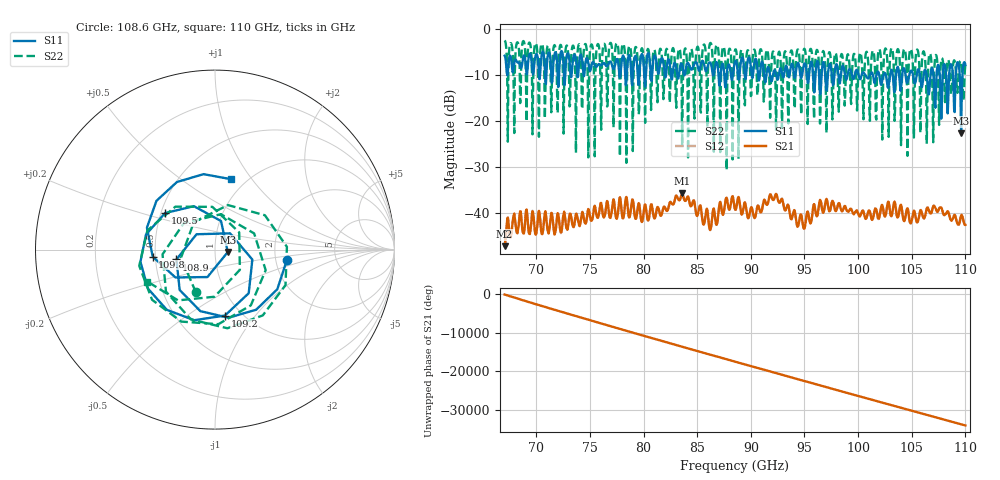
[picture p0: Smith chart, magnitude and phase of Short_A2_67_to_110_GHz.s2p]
#  HZ  S  MA  R  50.00
! Rohde & Schwarz ZVA67 4Ports - Version 4.11 - 1305.7002k04 SN: 101051
! Date: 2023-09-13 16:55:17
! Measurements: S11 S21 S12 S22
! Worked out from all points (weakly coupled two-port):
!   860 points, 67.05 GHz to 110 GHz, reference 50 ohm
!   highest |S21| = -35.86 dB at 83.6 GHz (marker M1); lowest = -47.3 dB at 67.05 GHz (marker M2)
!   lowest |S11| = -22.8 dB at 109.6 GHz (marker M3), VSWR 1.16, Z = 57.7 - j1.58 ohm
!   |S11| at or under -10 dB: 100.6448 GHz to 101.123 GHz (478.2 MHz wide, 0.474 % of centre); 101.9623 GHz to 102.3889 GHz (426.6 MHz wide, 0.417 % of centre); 102.5799 GHz to 102.9901 GHz (410.2 MHz wide, 0.399 % of centre) (the widest 3 of 58)
!   |S22| runs from -30.8 to -2.6 dB; largest |S21 - S12| = 0.0018
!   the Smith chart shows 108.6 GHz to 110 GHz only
!   S11 on the Smith chart (normalised r, x): 108.6 GHz: 2.30, -0.33; 108.9 GHz: 0.64, -0.07; 109.2 GHz: 0.84, -0.72; 109.5 GHz: 0.53, +0.24; 109.8 GHz: 0.48, -0.04; 110 GHz: 0.85, +0.80
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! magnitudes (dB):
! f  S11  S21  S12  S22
! 67.05 GHz  -5.9  -47.3  -47.3  -2.6
! 67.9 GHz  -8.3  -40.6  -40.6  -13.4
! 68.8 GHz  -6.1  -44.6  -44.4  -2.7
! 74.25 GHz  -6.4  -40.3  -40.1  -17.5
! 77.5 GHz  -6.6  -41.4  -41.3  -3.1
! 78.4 GHz  -11.4  -36.6  -36.6  -29.2
! 78.7 GHz  -5.9  -41.0  -41.0  -3.7
! 78.95 GHz  -12.3  -37.2  -37.2  -12.8
! 81.4 GHz  -9.8  -39.1  -39.1  -7.6
! 83.6 GHz  -7.9  -35.9  -35.8  -25.6
! 86.2 GHz  -7.4  -43.8  -43.8  -3.2
! 87.75 GHz  -10.1  -36.8  -36.8  -30.8
! 88.55 GHz  -7.0  -39.4  -39.4  -4.5
! 95.7 GHz  -7.5  -41.0  -40.9  -5.5
! 102.8 GHz  -12.4  -37.7  -37.8  -23.5
! 108.6 GHz  -7.9  -41.5  -41.4  -11.7
! 108.9 GHz  -13.1  -40.9  -40.9  -7.1
! 109.2 GHz  -8.6  -41.6  -41.6  -10.7
! 109.5 GHz  -9.3  -42.2  -42.2  -7.6
! 109.6 GHz  -22.8  -40.7  -40.6  -7.3
! 109.8 GHz  -9.1  -41.1  -41.1  -12.4
! 110 GHz  -7.9  -42.7  -42.6  -7.6
